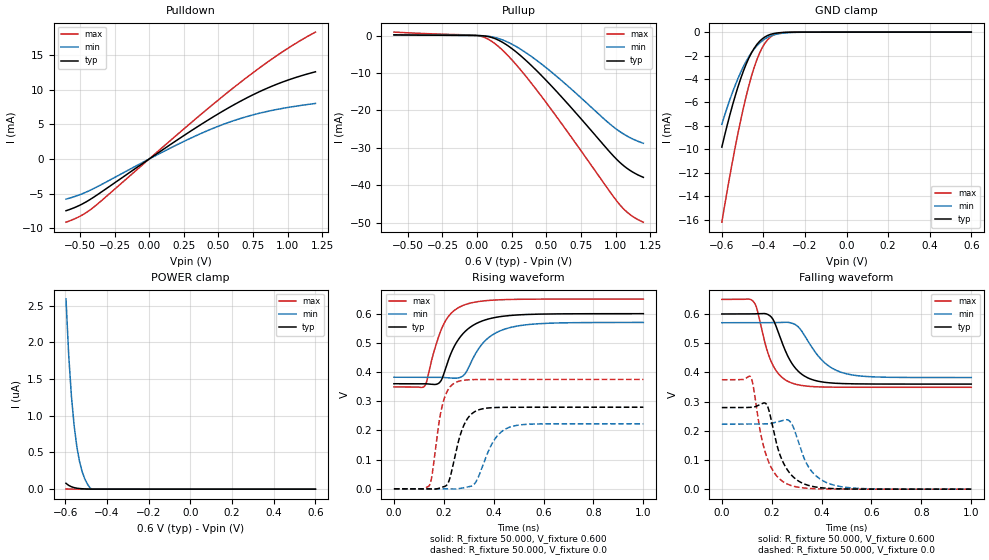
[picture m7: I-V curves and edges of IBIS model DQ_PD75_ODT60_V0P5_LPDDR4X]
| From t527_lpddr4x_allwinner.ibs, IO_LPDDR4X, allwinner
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|   Model DQ_PD75_ODT60_V0P5_LPDDR4X
[Model] DQ_PD75_ODT60_V0P5_LPDDR4X
Model_type I/O
Polarity   Non-Inverting
Enable   Active-Low
Vinl =  0.300V
Vinh =  0.300V
C_comp   1.536pF   1.495pF   1.589pF
C_comp_pulldown   0.784pF   0.757pF   0.818pF
[Model Spec]
Vinh   0.300V   0.285V   0.325V
Vinl   0.300V   0.285V   0.325V
[Temperature Range]   25.000   0.125k   -40.000
[Voltage Range]   0.600V   0.570V   0.650V
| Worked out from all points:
|   slope of the pulldown table from 0 to 0.09 V, typ, clamps not added: 73.2 ohm
|   slope of the pullup table from 0 to 0.09 V, typ, clamps not added: 243 ohm
|   GND clamp passes 1 mA (typ) near -0.43 V on its own axis
|   rising waveform, R_fixture 50.000, V_fixture 0.600: 20-80 % time 98.1ps typ, 103ps min, 75.3ps max; typ from 0.36 V to 0.6 V
|   rising waveform, R_fixture 50.000, V_fixture 0.0: 20-80 % time 53.3ps typ, 70.8ps min, 40.8ps max; typ from 0 V to 0.279 V
|   falling waveform, R_fixture 50.000, V_fixture 0.600: 20-80 % time 81.6ps typ, 105ps min, 66.4ps max; typ from 0.6 V to 0.36 V
|   falling waveform, R_fixture 50.000, V_fixture 0.0: 20-80 % time 69.8ps typ, 78.3ps min, 61.7ps max; typ from 0.279 V to 0 V
[Pulldown]
|Voltage   I(typ)   I(min)   I(max)
-600mV    -7.463mA   -5.789mA   -9.119mA
-486mV    -6.526mA   -5.039mA   -8.122mA
-391mV    -5.389mA   -4.171mA   -6.806mA
179mV     2.432mA    1.839mA    3.115mA
369mV     4.918mA    3.64mA     6.359mA
521mV     6.786mA    4.897mA    8.877mA
692mV     8.692mA    6.05mA     11.59mA
863mV     10.32mA    6.914mA    14.11mA
1.034V    11.61mA    7.548mA    16.4mA
1.2V      12.59mA    8.019mA    18.32mA
[Pullup]
|Voltage   I(typ)   I(min)   I(max)
-600mV    174.4uA    136.4uA    916.9uA
3mV       -3.215uA   -2.941uA   -15.88uA
60mV      -157.5uA   -115.3uA   -612.9uA
136mV     -925uA     -593.9uA   -2.369mA
193mV     -2.018mA   -1.302mA   -4.247mA
269mV     -4mA       -2.668mA   -7.229mA
440mV     -9.758mA   -6.91mA    -15.04mA
630mV     -17.22mA   -12.68mA   -24.56mA
934mV     -30.11mA   -22.85mA   -40.43mA
1.029V    -33.85mA   -25.62mA   -45.15mA
1.105V    -36.05mA   -27.3mA    -47.85mA
1.2V      -37.88mA   -28.78mA   -49.86mA
[GND_clamp]
|Voltage   I(typ)   I(min)   I(max)
-600mV    -9.815mA   -7.875mA   -16.22mA
-561mV    -7.046mA   -5.746mA   -12.23mA
-535mV    -5.403mA   -4.507mA   -9.766mA
-496mV    -3.316mA   -2.935mA   -6.457mA
-470mV    -2.216mA   -2.096mA   -4.569mA
-444mV    -1.371mA   -1.428mA   -2.993mA
-418mV    -778.9uA   -926.6uA   -1.774mA
-392mV    -406.1uA   -573.1uA   -928uA
-366mV    -197uA     -340uA     -421.7uA
-327mV    -60.99uA   -147uA     -102.9uA
-275mV    -11.95uA   -46.19uA   -12.78uA
600mV     -16.32nA   -580.9nA   -530.8pA
[POWER_clamp]
|Voltage   I(typ)   I(min)   I(max)
-596mV    80.11nA    2.59uA     2.718nA
-583mV    51.54nA    1.823uA    1.849nA
-570mV    33.02nA    1.267uA    1.347nA
-557mV    21.05nA    865.5nA    1.054nA
-544mV    13.37nA    578.4nA    882.1pA
-531mV    8.471nA    375.5nA    779.4pA
-518mV    5.383nA    233.4nA    714.2pA
-505mV    3.418nA    134nA      667.8pA
-492mV    2.102nA    63.17nA    630.5pA
-479mV    1.14nA     10.45nA    598.7pA
-466mV    372.9pA    0A         570.6pA
600mV     0A         0A         0A
[Ramp]
| variable   typ   min   max
dV/dt_r   0.168/53.363p   0.134/70.883p   0.225/40.976p
dV/dt_f   0.144/81.637p   0.113/0.105n   0.181/66.378p
R_load = 50.000
[Rising Waveform]
R_fixture= 50.000
V_fixture= 0.600
V_fixture_min= 0.570
V_fixture_max= 0.650
|time   V(typ)   V(min)   V(max)
0s        359.9mV    382.2mV    348.9mV
123ps     359.9mV    382.2mV    352mV
177ps     360.2mV    382mV      515.3mV
200ps     393.8mV    381.3mV    564.9mV
239ps     483.2mV    379mV      608.9mV
286ps     539.4mV    395.3mV    631mV
361ps     577.2mV    503.2mV    643.9mV
454ps     592.8mV    549.6mV    648.4mV
614ps     598.9mV    567mV      649.9mV
1ns       599.9mV    569.9mV    650mV
[Rising Waveform]
R_fixture= 50.000
V_fixture= 0.0
V_fixture_min= 0.0
V_fixture_max= 0.0
|time   V(typ)   V(min)   V(max)
0s        2.647uV    64.5uV     188.4nV
143ps     -402.8uV   153.2uV    12.76mV
195ps     6.187mV    150.3uV    289.1mV
220ps     25.42mV    -428uV     343.2mV
250ps     132mV      -410.9uV   365.3mV
280ps     217.1mV    3.632mV    371.9mV
314ps     258.4mV    10.41mV    374mV
400ps     278.2mV    164.2mV    374.7mV
464ps     279.3mV    211.1mV    374.7mV
1ns       279.4mV    222.7mV    374.7mV
[Falling Waveform]
R_fixture= 50.000
V_fixture= 0.600
V_fixture_min= 0.570
V_fixture_max= 0.650
|time   V(typ)   V(min)   V(max)
0s        600mV      570mV      650mV
128ps     600.3mV    569.9mV    641mV
201ps     586.8mV    570.5mV    431.1mV
235ps     517mV      570.9mV    387.8mV
281ps     430.6mV    568.5mV    363.4mV
311ps     400.2mV    551.8mV    356.6mV
353ps     378.1mV    496.4mV    352mV
413ps     365.9mV    432.3mV    349.7mV
483ps     361.7mV    399.1mV    349.1mV
1ns       359.9mV    382.3mV    348.9mV
[Falling Waveform]
R_fixture= 50.000
V_fixture= 0.0
V_fixture_min= 0.0
V_fixture_max= 0.0
|time   V(typ)   V(min)   V(max)
0s        279.4mV    222.7mV    374.7mV
116ps     280.3mV    222.7mV    383.9mV
156ps     290.9mV    223.3mV    189.3mV
180ps     289.3mV    223.3mV    110.7mV
228ps     130.1mV    231.3mV    37.85mV
263ps     65.79mV    237.5mV    17.35mV
286ps     42.12mV    213.5mV    10.41mV
350ps     12.18mV    72.83mV    2.531mV
431ps     2.544mV    18.71mV    416.5uV
1ns       2.694uV    65.91uV    191.3nV
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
